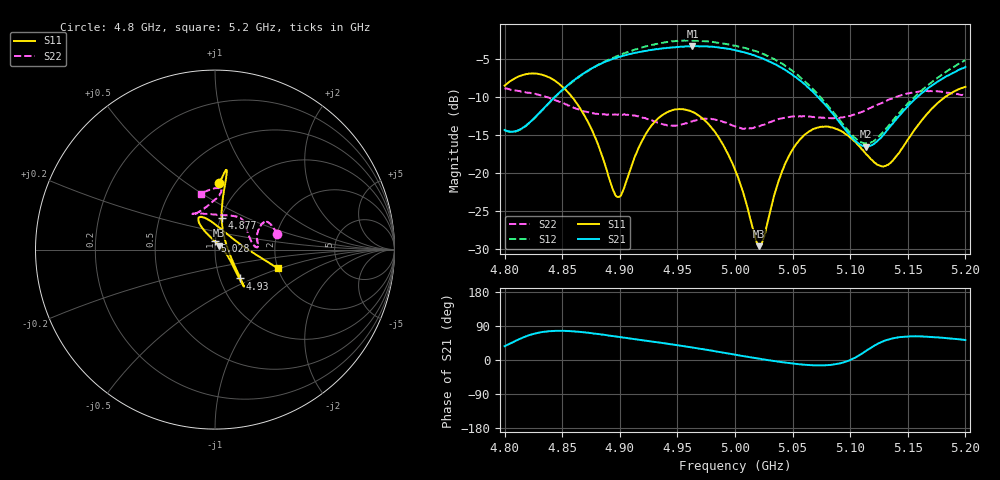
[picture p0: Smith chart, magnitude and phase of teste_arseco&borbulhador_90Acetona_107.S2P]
! Network Analyzer HP8722D
! Hewlett-Packard
! Data name: Linha & Wilkinson
! Saver's name: Rodrigo Anjos
! Comments: Teste da utilização de aquisição
! continua pelo VNA HP8722D
! Time and date: 17/4/2025 11:56
!  Frequency  S11  S21  S12  S22
# HZ  S  MA R 50
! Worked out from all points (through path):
!   401 points, 4.8 GHz to 5.2 GHz, reference 50 ohm
!   highest |S21| = -3.36 dB at 4.963 GHz (marker M1); lowest = -16.6 dB at 5.114 GHz (marker M2)
!   lowest |S11| = -29.7 dB at 5.021 GHz (marker M3), VSWR 1.07, Z = 52.4 + j2.32 ohm
!   |S11| at or under -10 dB: 4.858 GHz to 5.183 GHz (324.7 MHz wide, 6.47 % of centre)
!   |S22| runs from -14.3 to -8.9 dB; largest |S21 - S12| = 0.23
!   S11 on the Smith chart (normalised r, x): 4.8 GHz: 0.79, +0.68; 4.877 GHz: 1.01, +0.37; 4.93 GHz: 1.25, -0.42; 5.028 GHz: 1.00, +0.09; 5.2 GHz: 2.00, -0.49
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4.8e9  0.3736 86.2  0.1907 36.5  0.1901 -3.2  0.3559 14.4
4.815e9  0.4357 82.9  0.1949 58.0  0.1939 19.2  0.3409 23.8
4.834e9  0.4362 81.4  0.2647 74.4  0.2638 37.8  0.319 29.2
4.867e9  0.2536 80.9  0.4406 73.6  0.4382 43.6  0.2564 21.9
4.877e9  0.1815 78.1  0.4909 69.9  0.4896 42.7  0.2459 17.1
4.894e9  0.07726 44.4  0.5583 63.1  0.5684 40.5  0.2405 9.1
4.899e9  0.06919 15.7  0.5758 60.9  0.5903 39.6  0.2415 7.2
4.918e9  0.1546 -41.7  0.6216 52.9  0.6595 35.5  0.2327 3.0
4.93e9  0.2142 -48.6  0.6452 47.7  0.6944 32.1  0.2169 6.8
4.934e9  0.2299 -49.9  0.6511 46.1  0.7079 30.8  0.2119 9.4
4.963e9  0.2503 -51.6  0.6795 32.9  0.7371 20.0  0.2173 39.5
4.983e9  0.1834 -47.9  0.6681 23.0  0.7177 12.2  0.2231 54.0
5e9  0.1044 -35.4  0.6391 14.0  0.6848 5.8  0.2015 72.3
5.021e9  0.03282 42.3  0.5743 3.5  0.6178 -2.2  0.2016 100.7
5.028e9  0.0462 90.0  0.5445 0.2  0.5848 -4.7  0.2112 108.3
5.045e9  0.1203 119.5  0.466 -7.6  0.4956 -10.7  0.2308 119.4
5.067e9  0.192 119.2  0.3438 -13.9  0.3584 -13.5  0.2318 121.6
5.09e9  0.1905 110.0  0.2179 -9.6  0.2254 -5.0  0.2281 112.5
5.114e9  0.1317 84.6  0.1482 24.3  0.1555 32.1  0.2577 95.7
5.134e9  0.1144 35.1  0.1973 55.0  0.2059 65.2  0.3027 85.6
5.172e9  0.2678 -10.9  0.3786 60.5  0.4002 78.6  0.3424 88.2
5.2e9  0.3664 -16.7  0.4948 52.8  0.5497 76.6  0.3199 104.3
